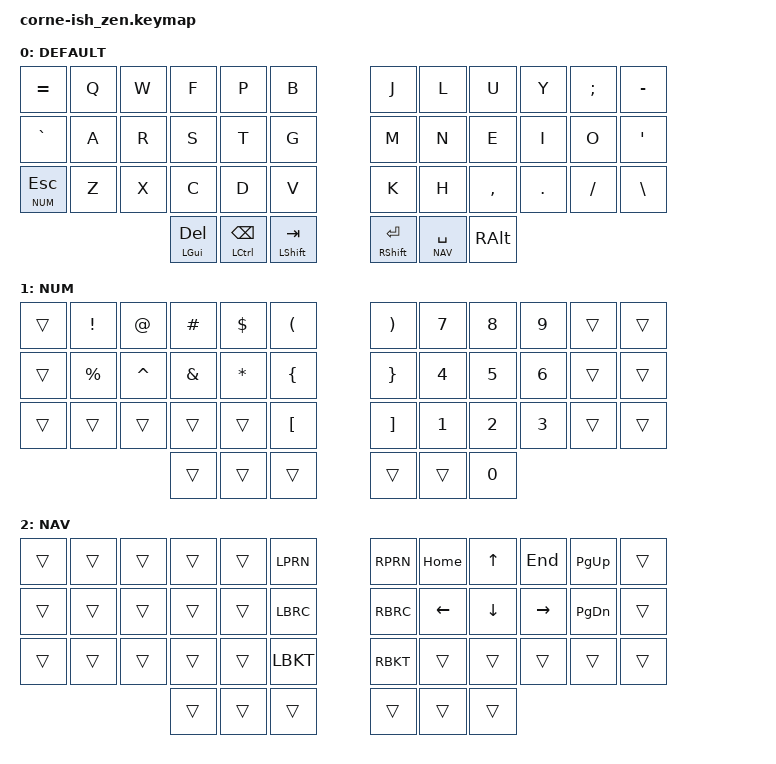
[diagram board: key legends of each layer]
/*
*
* Copyright (c) 2021 Darryl deHaan
* SPDX-License-Identifier: MIT
*
*/

#define DEFAULT 0
#define NUM 1
#define NAV 2

#include <behaviors.dtsi>
#include <dt-bindings/zmk/keys.h>
#include <dt-bindings/zmk/bt.h>

/ {
        keymap {
                compatible = "zmk,keymap";

                default_layer {
                        label = "DEFAULT";
// -----------------------------------------------------------------------------------------
// |  TAB |  Q  |  W  |  E  |  R  |  T  |   |  Y  |  U   |  I  |  O  |  P  | BKSP |
// | CTRL |  A  |  S  |  D  |  F  |  G  |   |  H  |  J   |  K  |  L  |  ;  |  '   |
// | SHFT |  Z  |  X  |  C  |  V  |  B  |   |  N  |  M   |  ,  |  .  |  /  | ESC  |
//                    | GUI | LWR | SPC |   | ENT | RSE  | ALT |
                        bindings = <
   &kp EQUAL   &kp Q &kp W &kp F &kp P &kp B   &kp J &kp L  &kp U     &kp Y   &kp SEMI &kp MINUS
   &kp GRAVE   &kp A &kp R &kp S &kp T &kp G   &kp M &kp N  &kp E     &kp I   &kp O    &kp SQT
   &lt NUM ESC &kp Z &kp X &kp C &kp D &kp V   &kp K &kp H  &kp COMMA &kp DOT &kp FSLH &kp BSLH
   &mt LGUI DEL &mt LCTRL BSPC &mt LSHFT TAB   &mt RSHFT RET &lt NAV SPACE &kp RALT
                        >;
                };
                lower_layer {
                        label = "NUM";
// -----------------------------------------------------------------------------------------
// |  TAB |  1  |  2  |  3  |  4  |  5  |   |  6  |  7  |  8  |  9  |  0  | BKSP |
// | BTCLR| BT1 | BT2 | BT3 | BT4 | BT5 |   | LFT | DWN |  UP | RGT |     |      |
// | SHFT |     |     |     |     |     |   |     |     |     |     |     |      |
//                    | GUI |     | SPC |   | ENT |     | ALT |
                        
                        bindings = <
   &trans  &kp EXCL  &kp AT    &kp HASH &kp DLLR  &kp LPRN   &kp RPRN  &kp N7 &kp N8 &kp N9 &trans &trans
   &trans  &kp PRCNT &kp CARET &kp AMPS &kp ASTRK &kp LBRC   &kp RBRC  &kp N4 &kp N5 &kp N6 &trans &trans
   &trans  &trans    &trans    &trans   &trans    &kp LBKT   &kp RBKT  &kp N1 &kp N2 &kp N3 &trans &trans
                               &trans   &trans    &trans  &trans &trans &kp N0
                        >;
                 };

                raise_layer {
                        label = "NAV";
// -----------------------------------------------------------------------------------------
// |  TAB |  !  |  @  |  #  |  $  |  %  |   |  ^  |  &  |  *  |  (  |  )  | BKSP |
// | CTRL |     |     |     |     |     |   |  -  |  =  |  [  |  ]  |  \  |  `   |
// | SHFT |     |     |     |     |     |   |  _  |  +  |  {  |  }  | "|" |  ~   |
//                    | GUI |     | SPC |   | ENT |     | ALT |
                       bindings = <
   &trans &trans &trans &trans &trans &LPRN    &RPRN &kp HOME &kp UP   &kp END   &kp PG_UP &trans
   &trans &trans &trans &trans &trans &LBRC    &RBRC &kp LEFT &kp DOWN &kp RIGHT &kp PG_DN &trans
   &trans &trans &trans &trans &trans &LBKT    &RBKT &trans   &trans   &trans    &trans   &trans
                        &trans &trans &trans    &trans &trans   &trans
                        >;
                };
        };
};
